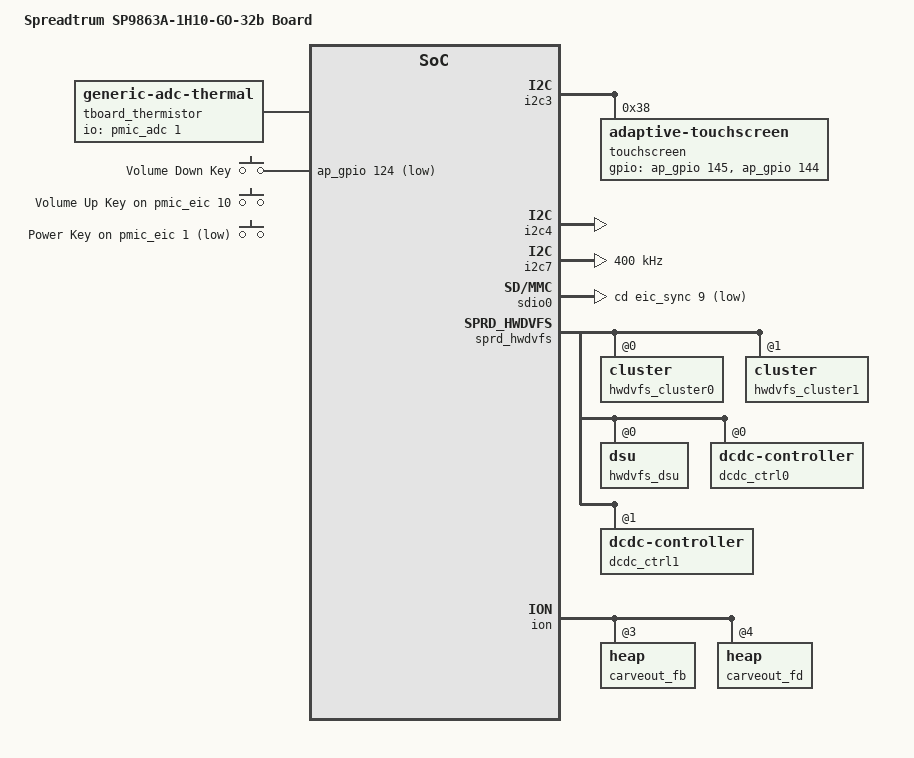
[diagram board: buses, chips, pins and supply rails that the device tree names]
/dts-v1/;
/plugin/;
#include <dt-bindings/gpio/gpio.h>
#include <dt-bindings/input/input.h>
#include <dt-bindings/clock/sprd,sc9863a-clk.h>

/ {
	model = "Spreadtrum SP9863A-1H10-GO-32b Board";

	compatible = "sprd,sp9863a-1h10", "sprd,sc9863a";

	sprd,sc-id = "sp9863a 1h10 1000";

	fragment {
		target-path = "/";
		__overlay__ {
			tboard_thermistor:thermal-sensor {
				compatible = "generic-adc-thermal";
				#thermal-sensor-cells = <0>;
				io-channels = <&pmic_adc 1>;
				io-channel-names = "sensor-channel";
				temperature-lookup-table = <	(-39742) 1131
								(-29777) 1110
								(-19480) 1074
								(-4679) 983
								10110 838
								24805 654
								44922 413
								54903 316
								64895 238
								74884 178
								84883 133
								94883 100
								104880 75
								114889 57
								124872 43 >;
			};

			gpio-keys {
				compatible = "gpio-keys";

				key-volumedown {
					label = "Volume Down Key";
					linux,code = <KEY_VOLUMEDOWN>;
					gpios = <&ap_gpio 124 GPIO_ACTIVE_LOW>;
					debounce-interval = <2>;
					wakeup-source;
				};

				key-volumeup {
					label = "Volume Up Key";
					linux,code = <KEY_VOLUMEUP>;
					gpios = <&pmic_eic 10 GPIO_ACTIVE_HIGH>;
					debounce-interval = <2>;
					wakeup-source;
				};

				key-power {
					label = "Power Key";
					linux,code = <KEY_POWER>;
					gpios = <&pmic_eic 1 GPIO_ACTIVE_LOW>;
					debounce-interval = <2>;
					wakeup-source;
				};
			};
		};
	};
};

&chosen {
	bootargs_ext = "androidboot.hardware=s9863a1h10_go_32b androidboot.dtbo_idx=0";
};

&reserved_memory {

	fd_reserved: faceid-mem@befee000 {
		reg = <0xbefee000 0x00500000>;
	};

	/* fb_size(HD): 3 * (head + payload) = 0xa91580, 4k align: 0xa92000 */
	fb_reserved: framebuffer@bf4ee000 {
		reg = <0xbf4ee000 0x00a92000>;
	};
};

&usb {
	extcon = <&extcon_gpio>, <&pmic_typec>;
};

&i2c3 {
	status = "okay";

	touchscreen@38 {
		compatible = "adaptive-touchscreen";
		reg = <0x38>;
		gpios = <&ap_gpio 145 GPIO_ACTIVE_HIGH
			&ap_gpio 144 GPIO_ACTIVE_HIGH>;
		controller = "focaltech,FT5436";
		virtualkeys = <580 60 1320 60 45
			172 360 1320 60 45
			158 600 1320 60 45>;
		surface-width = <720>;
		surface-height = <1280>;

		firmware-auto-upgrade;
		private-data {
			a8 = /bits/ 8 <0x5a>;
		};
	};
};

&i2c4 {
	status = "okay";
};

&i2c7 {
	status = "okay";
	clock-frequency = <400000>;
};

&ddr_dfs {
	sprd-scene = "boost", "lcdon", "lcdoff", "camlow",
			"camhigh", "camveryhigh";
	sprd-freq = <933 933 233 400 622 933>;
};

&pin_controller {
	pinctrl-names =
	/* keyout0 ~ keyout2 */
	"gpio_121", "gpio_122", "gpio_123",
	/* keyin0 ~ keyin2 */
	"gpio_124", "gpio_125", "gpio_126",
	/* extint0, extint1, scl3, sda3 */
	"gpio_144", "gpio_145", "gpio_146", "gpio_147",
	/* Note:If create a new board,need to add the shutdown node */
	"shutdown";
	pinctrl-0 = <&gpio_121>;
	pinctrl-1 = <&gpio_122>;
	pinctrl-2 = <&gpio_123>;
	pinctrl-3 = <&gpio_124>;
	pinctrl-4 = <&gpio_125>;
	pinctrl-5 = <&gpio_126>;
	pinctrl-6 = <&gpio_144>;
	pinctrl-7 = <&gpio_145>;
	pinctrl-8 = <&gpio_146>;
	pinctrl-9 = <&gpio_147>;
	pinctrl-10 = <&shutdown0
			&shutdown1
			&shutdown2
			&shutdown3
			&shutdown4
			&shutdown5>;

	gpio_121: keyout0 {
		pins = "SHARKL3_KEYOUT0";
		function = "func4";
	};

	gpio_122: keyout1 {
		pins = "SHARKL3_KEYOUT1";
		function = "func4";
	};

	gpio_123: keyout2 {
		pins = "SHARKL3_KEYOUT2";
		function = "func4";
	};

	gpio_124: keyin0 {
		pins = "SHARKL3_KEYIN0";
		function = "func4";
	};

	gpio_125: keyin1 {
		pins = "SHARKL3_KEYIN1";
		function = "func4";
	};

	gpio_126: keyin2 {
		pins = "SHARKL3_KEYIN2";
		function = "func4";
	};

	gpio_144: extint0 {
		pins = "SHARKL3_EXTINT0";
		function = "func4";
	};

	gpio_145: extint1 {
		pins = "SHARKL3_EXTINT1";
		function = "func4";
	};

	gpio_146: scl3 {
		pins = "SHARKL3_SCL3";
		function = "func4";
	};

	gpio_147: sda3 {
		pins = "SHARKL3_SDA3";
		function = "func4";
	};

	shutdown0: rfsen0 {
		pins = "SHARKL3_RFSEN0";
		function = "func4";
	};

	shutdown1: rfsck0 {
		pins = "SHARKL3_RFSCK0";
		function = "func4";
	};

	shutdown2: rfsda0 {
		pins = "SHARKL3_RFSDA0";
		function = "func4";
	};

	shutdown3: rfsen1 {
		pins = "SHARKL3_RFSEN1";
		function = "func4";
	};

	shutdown4: rfsck1 {
		pins = "SHARKL3_RFSCK1";
		function = "func4";
	};

	shutdown5: rfsda1 {
		pins = "SHARKL3_RFSDA1";
		function = "func4";
	};
};

&sdio0 {
	cd-gpios = <&eic_sync 9 1>;
};

&sprd_hwdvfs {
	hwdvfs_dev = <&hwdvfs_cluster0>,
		     <&hwdvfs_cluster1>,
		     <&hwdvfs_dsu>;

	hwdvfs_cluster0: cluster@0 {
		reg = <0x0>;
		dcdc-ctrl = <&dcdc_ctrl1>;
	};

	hwdvfs_cluster1: cluster@1 {
		reg = <0x1>;
		dcdc-ctrl = <&dcdc_ctrl0>;
	};

	hwdvfs_dsu: dsu@0 {
		reg = <0x0>;
		dcdc-ctrl = <&dcdc_ctrl0>;
	};

	dcdc_ctrl0: dcdc-controller@0 {
		reg = <0x0 0x0>;
		volt-via-adi;
		volt-hold-us = <50>;
		volt-pause-us = <5>;
		volt-timeout-us = <800>;
		volt-stable-us  = <5>;
		volt-max-step-microvolt = <25000>;
	};

	dcdc_ctrl1: dcdc-controller@1 {
		reg = <0x1 0x2>;
		volt-via-i2c;
		volt-hold-us = <25>;
		volt-pause-us = <20>;
		volt-timeout-us = <800>;
		volt-stable-us  = <25>;
		volt-max-step-microvolt = <1200004>;
	};
};

&thm_zone {
	bd_thmzone: board-thmzone {
		polling-delay-passive = <0>;
		polling-delay = <0>;
		thermal-sensors = <&tboard_thermistor>;
	};
};

&vdd18 {
	regulator-always-on;
};

&vddrf18 {
	regulator-always-on;
};

&vddrf125 {
	regulator-always-on;
};

&vddldomem {
	regulator-always-on;
};

&vddsim2 {
	status = "disabled";
};

&ion {
	heap@3 {
		reg = <3>;
		label = "carveout_fb";
		type = <2>;
		memory-region = <&fb_reserved>;
	};

	heap@4 {
		reg = <4>;
		label = "carveout_fd";
		type = <2>;
		memory-region = <&fd_reserved>;
	};
};
